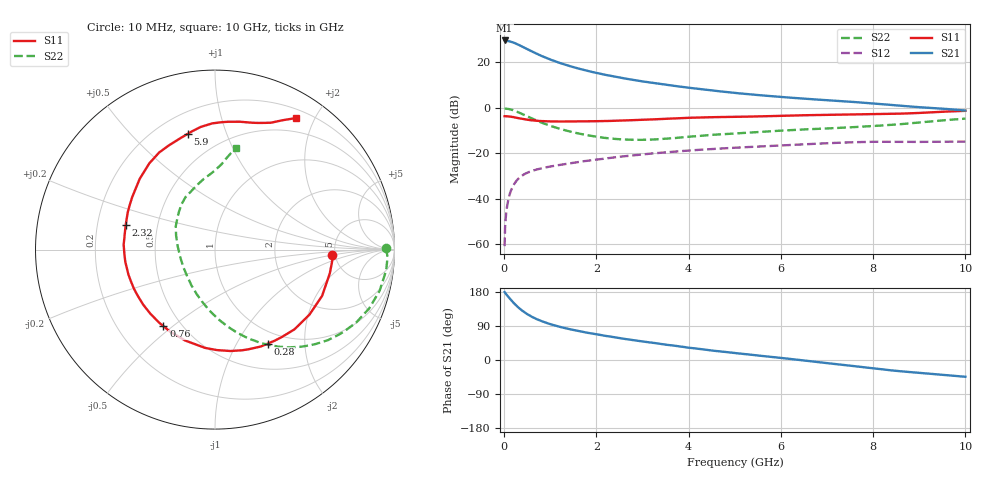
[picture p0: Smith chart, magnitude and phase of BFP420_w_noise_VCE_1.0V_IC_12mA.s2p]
! Infineon Technologies  Discrete & RF Semiconductors
! BFP420
! VCE =  1.0 V,  IC =  12 mA
! Common Emitter S-Parameters:  Jan 2016
# GHz  S  MA  R  50
!  f  S11  S21  S12  S22
! GHz  MAG  ANG  MAG  ANG  MAG  ANG  MAG  ANG
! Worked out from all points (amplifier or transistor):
!   233 points, 10 MHz to 10 GHz, reference 50 ohm
!   highest |S21| = 29.7 dB at 10 MHz (marker M1)
!   |S21| within 3 dB of that: start of sweep to 421.5 MHz
!   unconditionally stable (mu >= 1): 2.124 GHz to end of sweep
!   at 200 MHz: K = 0.16, MSG = 31.4 dB, |S12| = -34.1 dB
!   at 1.74 GHz: K = 0.90, MSG = 20.0 dB, |S12| = -23.5 dB
!   at 10 GHz: K = 1.07, MAG = 5.2 dB, |S12| = -14.9 dB
!   lowest NFmin = 0.95 dB at 900 MHz
!   S11 on the Smith chart (normalised r, x): 10 MHz: 4.74, -0.51; 280 MHz: 0.83, -1.35; 760 MHz: 0.40, -0.46; 2.32 GHz: 0.32, +0.12; 5.9 GHz: 0.32, +0.74; 10 GHz: 0.31, +1.75
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0.01  0.6549 -2.7  30.51 179.3  0.0009 103.5  0.9544 0.5
0.02  0.6567 -4.9  29.9 177.3  0.0023 90.4  0.9622 -2.6
0.095  0.6491 -22.2  29.51 165.9  0.01 80.2  0.9464 -13.3
0.15  0.639 -34.5  28.61 158.1  0.0153 75.1  0.9194 -20.9
0.2  0.6273 -45.1  27.5 151.5  0.0197 70.6  0.8854 -27.3
0.28  0.6005 -60.8  25.34 141.7  0.0257 64.3  0.8214 -36.5
0.34  0.5857 -71.6  23.75 135.4  0.0296 60.5  0.772 -42.8
0.4  0.5716 -81.3  22.17 129.5  0.0328 57.2  0.7237 -48.4
0.5  0.5504 -95.8  19.68 121.1  0.0373 52.8  0.6477 -56.7
0.6  0.5331 -108.2  17.51 114.0  0.0408 49.6  0.5817 -63.7
0.76  0.5143 -124.0  14.69 105.2  0.0454 46.3  0.496 -73.0
0.9  0.507 -135.5  12.74 98.5  0.0488 44.5  0.4371 -80.3
1.1  0.5019 -148.7  10.64 91.0  0.0533 42.9  0.3728 -89.5
1.34  0.5009 -161.3  8.818 83.5  0.0584 41.7  0.3171 -99.8
1.68  0.505 -175.4  7.041 74.8  0.0658 40.4  0.2641 -113.6
2.32  0.5165 164.3  5.042 61.4  0.08 37.5  0.2107 -139.5
3.4  0.5682 138.8  3.342 42.4  0.1029 30.4  0.2057 177.6
5.1  0.6368 112.8  2.087 17.1  0.1342 17.0  0.2762 139.0
5.9  0.6631 103.3  1.774 6.8  0.1473 10.8  0.3102 127.4
6.8  0.6966 93.4  1.52 -5.3  0.1628 2.8  0.3447 114.9
8.4  0.7367 73.6  1.156 -27.4  0.1786 -14.2  0.4225 93.3
10  0.8604 58.4  0.872 -44.3  0.1807 -25.7  0.579 78.1
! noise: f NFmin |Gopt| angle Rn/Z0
0.9  0.95  0.03  -151  0.13
1.8  1.27  0.13  -152  0.12
2.4  1.38  0.13  -160  0.14
3  1.43  0.22  -145  0.13
4  1.58  0.35  -123  0.17
5  2.03  0.43  -103  0.28
6  2.4  0.47  -91  0.43
